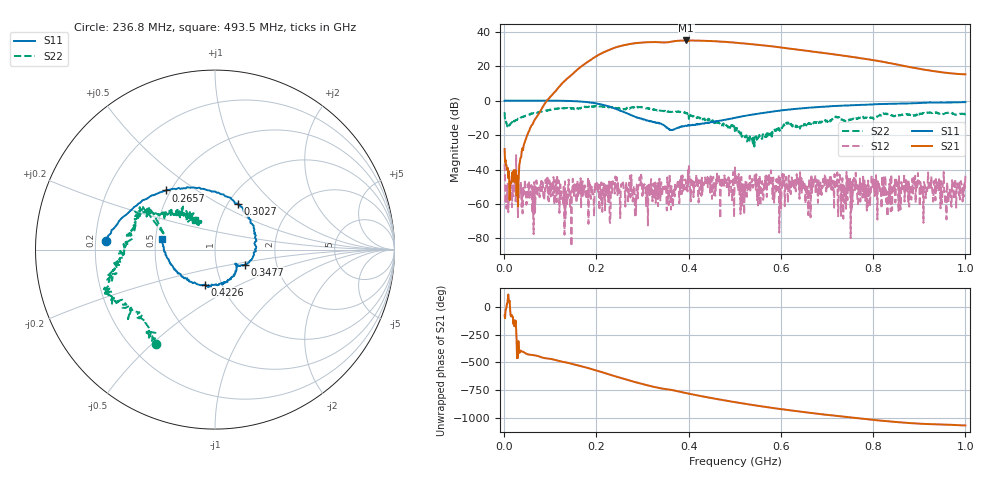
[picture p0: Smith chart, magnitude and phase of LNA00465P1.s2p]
! Created with skrf 1.9.0 (http://scikit-rf.org).
# Hz S RI R 50.0
!freq ReS11 ImS11 ReS21 ImS21 ReS12 ImS12 ReS22 ImS22
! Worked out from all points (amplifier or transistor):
!   1001 points, 1 MHz to 1 GHz, reference 50 ohm
!   highest |S21| = 34.9 dB at 394.6 MHz (marker M1)
!   |S21| within 3 dB of that: 255.9 MHz to 566.1 MHz (310.2 MHz wide, 75.5 % of centre)
!   unconditionally stable (mu >= 1): 211 MHz to 296.5 MHz; 297.3 MHz to 398.5 MHz; 398.7 MHz to end of sweep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
!   at 166.8 MHz: K = 5.90, MAG = 30.4 dB, |S12| = -62.4 dB
!   at 500.5 MHz: K = 1.06, MAG = 34.7 dB, |S12| = -38.8 dB
!   at 1 GHz: K = 1.79, MAG = 24.2 dB, |S12| = -43.4 dB
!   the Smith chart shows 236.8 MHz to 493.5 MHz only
!   S11 on the Smith chart (normalised r, x): 236.8 MHz: 0.24, +0.04; 265.7 MHz: 0.47, +0.38; 302.7 MHz: 1.11, +0.62; 347.7 MHz: 1.37, -0.24; 422.6 MHz: 0.83, -0.34; 493.5 MHz: 0.54, +0.07
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1000000  0.9885 0.00832  0.0084 -0.0385  -0.00288 0.0143  0.3532 0.2972
1.08892e8  0.5317 -0.841  -0.8106 -1.531  0.000964 4.73e-05  0.4169 -0.3747
1.67833e8  -0.2159 -0.9044  -9.911 -0.5614  -0.00248 0.00237  0.0331 -0.623
2.07793e8  -0.6529 -0.4345  -15.86 15.56  -0.00279 -0.00196  -0.207 -0.6456
2.36764e8  -0.6058 0.046  -4.674 32.66  -0.000607 -0.00285  -0.3264 -0.5267
2.65735e8  -0.2732 0.3296  19.72 36.7  0.00251 0.000212  -0.4852 -0.3875
2.83717e8  -0.0519 0.3344  34.74 30.41  -0.000212 0.000345  -0.6126 -0.2389
3.02698e8  0.1288 0.2567  45.32 16.63  -0.00242 0.00276  -0.5924 -0.1589
3.34666e8  0.2271 -0.00987  48.31 -10  -0.000987 0.00347  -0.5106 -0.0175
3.47653e8  0.1651 -0.0841  45.13 -17.55  -0.00122 0.00237  -0.4955 0.0426
3.7063e8  0.1194 -0.0904  42.55 -31.97  0.00178 0.00346  -0.4328 0.1823
3.94606e8  0.0725 -0.1679  28.47 -47.47  0.00195 -0.00164  -0.3813 0.1836
4.22578e8  -0.0552 -0.1954  7.134 -54.16  0.00185 -0.00124  -0.2449 0.2098
4.55545e8  -0.2068 -0.1335  -16.55 -49.81  -0.00212 1.88e-05  -0.1309 0.176
4.93507e8  -0.2947 0.0592  -34.96 -33.94  0.00193 0.00077  -0.1117 0.1624
5.005e8  -0.3026 0.1032  -37.23 -30.33  0.0114 0.000997  -0.0714 0.0965
5.4046e8  -0.2459 0.3122  -41.52 -9.443  0.00395 -5.78e-05  -0.0753 0.039
5.88412e8  -0.0567 0.4899  -34.66 10.62  0.00138 -0.00304  -0.1311 -0.0435
6.67333e8  0.3179 0.5398  -13.4 22.68  0.00175 -0.00113  -0.212 -0.0104
7.53247e8  0.6251 0.3783  3.278 18.22  -0.000623 6.49e-05  -0.276 0.0499
8.34166e8  0.7855 0.1524  8.59 8.856  0.000162 -0.00107  -0.3817 0.1094
1e9  0.8194 -0.3772  5.696 0.8884  -0.00434 0.00517  -0.1414 0.3853
